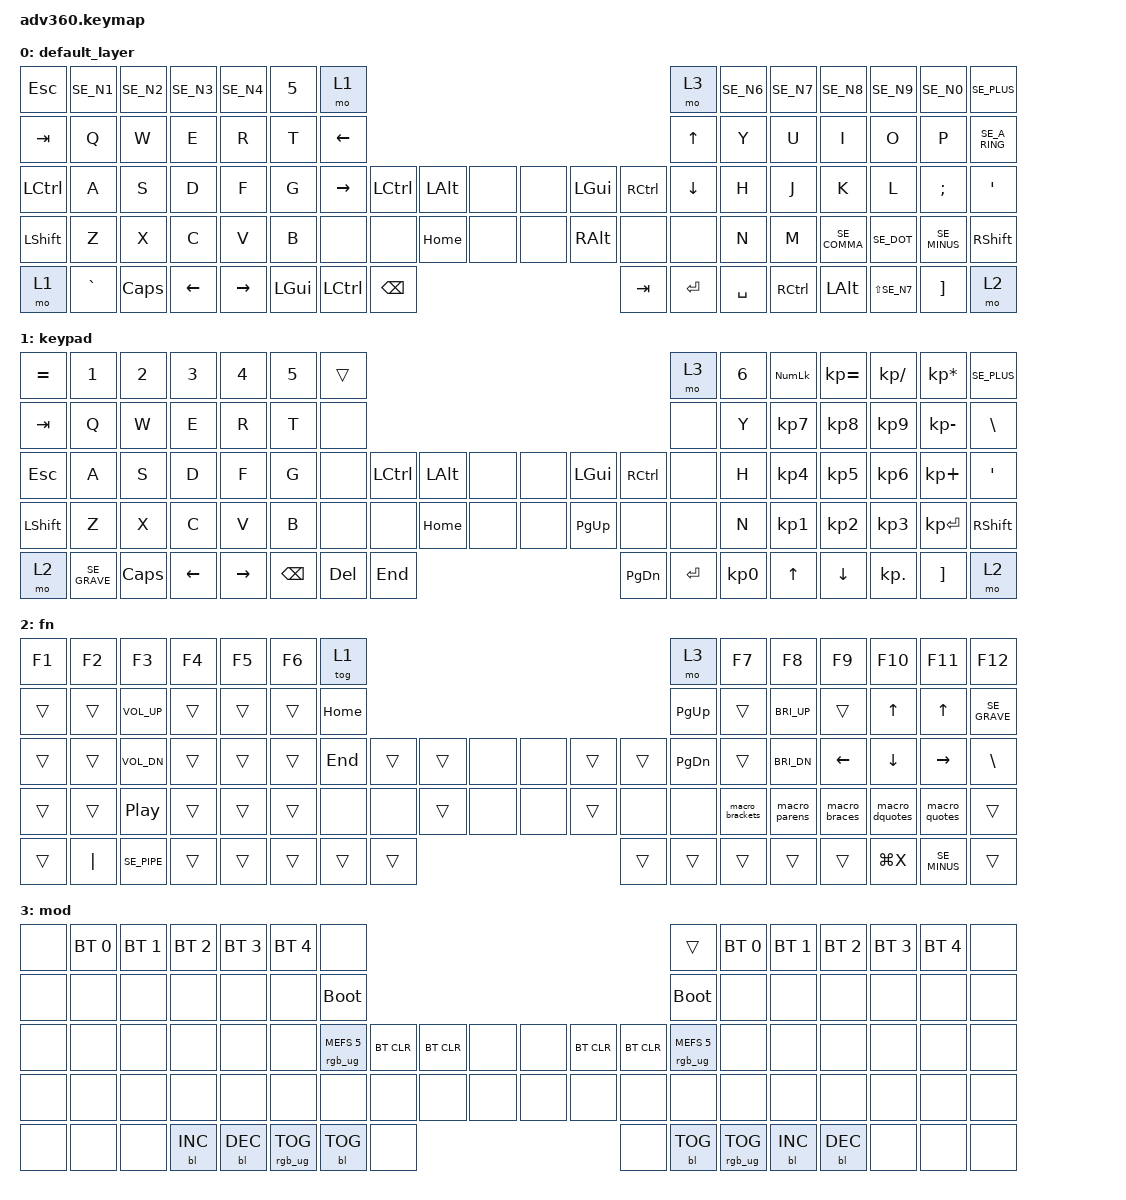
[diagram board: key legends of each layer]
#include <behaviors.dtsi>
#include <dt-bindings/zmk/keys.h>
#include <dt-bindings/zmk/bt.h>
#include <dt-bindings/zmk/rgb.h>
#include <dt-bindings/zmk/backlight.h>
#include "keys_se.h"

/ {
    behaviors {
      #include "macros.dtsi"

      hm: homerow_mods {
          compatible = "zmk,behavior-hold-tap";
          label = "HOMEROW_MODS";
          #binding-cells = <2>;
          tapping-term-ms = <200>;
          quick_tap_ms = <175>;
          flavor = "tap-preferred";
          bindings = <&kp>, <&kp>;
      };
    };

  keymap {
    compatible = "zmk,keymap";

    default_layer {
      bindings = <
        &kp ESC   &kp SE_N1 &kp SE_N2 &kp SE_N3 &kp SE_N4  &kp N5 &mo 1                                                                        &mo 3    &kp SE_N6 &kp SE_N7    &kp SE_N8    &kp SE_N9     &kp SE_N0    &kp SE_PLUS
        &kp TAB   &kp Q     &kp W     &kp E     &kp R      &kp T  &kp LEFT                                                                     &kp UP   &kp Y     &kp U        &kp I        &kp O         &kp P        &kp SE_A_RING
        &kp LCTRL &kp A     &kp S     &kp D     &kp F      &kp G  &kp RIGHT       &kp LCTRL &kp LALT &none &none &kp LGUI &kp RCTRL            &kp DOWN &kp H     &kp J        &kp K        &kp L         &kp SEMI     &kp SQT
        &kp LSHFT &kp Z     &kp X     &kp C     &kp V      &kp B         &none    &none     &kp HOME &none &none &kp RALT &none     &none               &kp N     &kp M        &kp SE_COMMA &kp SE_DOT    &kp SE_MINUS &kp RSHFT
        &mo 1     &kp GRAVE &kp CAPS  &kp LEFT  &kp RIGHT                &kp LGUI &kp LCTRL &kp BSPC             &kp TAB  &kp ENTER &kp SPACE                     &kp RCTRL    &kp LALT     &kp LS(SE_N7) &kp RBKT     &mo 2
      >;
    };
    keypad {
      bindings = <
        &kp EQUAL &kp N1       &kp N2   &kp N3   &kp N4     &kp N5 &trans                                                                       &mo 3 &kp N6 &kp KP_NUM &kp KP_EQUAL &kp KP_DIVIDE &kp KP_MULTIPLY &kp SE_PLUS
        &kp TAB   &kp Q        &kp W    &kp E    &kp R      &kp T  &none                                                                        &none &kp Y  &kp KP_N7  &kp KP_N8    &kp KP_N9     &kp KP_MINUS    &kp BSLH
        &kp ESC   &kp A        &kp S    &kp D    &kp F      &kp G  &none           &kp LCTRL &kp LALT &none &none &kp LGUI  &kp RCTRL           &none &kp H  &kp KP_N4  &kp KP_N5    &kp KP_N6     &kp KP_PLUS     &kp SQT
        &kp LSHFT &kp Z        &kp X    &kp C    &kp V      &kp B         &none    &none     &kp HOME &none &none &kp PG_UP &none     &none           &kp N  &kp KP_N1  &kp KP_N2    &kp KP_N3     &kp KP_ENTER    &kp RSHFT
        &mo 2     &kp SE_GRAVE &kp CAPS &kp LEFT &kp RIGHT                &kp BSPC &kp DEL   &kp END              &kp PG_DN &kp ENTER &kp KP_N0              &kp UP     &kp DOWN     &kp KP_DOT    &kp RBKT        &mo 2
      >;
    };
    fn {
      bindings = <
        &kp F1 &kp F2   &kp F3       &kp F4 &kp F5 &kp F6 &tog 1                                                       &mo 3     &kp F7          &kp F8         &kp F9         &kp F10         &kp F11       &kp F12
        &trans &trans   &kp C_VOL_UP &trans &trans &trans  &kp HOME                                                    &kp PG_UP &trans          &kp C_BRI_UP   &trans         &kp UP          &kp UP        &kp SE_GRAVE
        &trans &trans   &kp C_VOL_DN &trans &trans &trans  &kp END      &trans &trans &none &none &trans &trans        &kp PG_DN &trans          &kp C_BRI_DN   &kp LEFT       &kp DOWN        &kp RIGHT     &kp BSLH
        &trans &trans   &kp C_PP     &trans &trans &trans        &none  &none  &trans &none &none &trans &none  &none            &macro_brackets &macro_parens  &macro_braces  &macro_dquotes  &macro_quotes &trans
        &trans &kp PIPE &kp SE_PIPE  &trans &trans               &trans &trans &trans             &trans &trans &trans                           &trans         &trans         &kp LG(X)       &kp SE_MINUS  &trans
      >;
    };
    mod {
      bindings = <
        &none &bt BT_SEL 0 &bt BT_SEL 1 &bt BT_SEL 2 &bt BT_SEL 3 &bt BT_SEL 4 &none                                                                                                          &trans                 &bt BT_SEL 0 &bt BT_SEL 1 &bt BT_SEL 2 &bt BT_SEL 3 &bt BT_SEL 4 &none
        &none &none        &none        &none        &none        &none        &bootloader                                                                                                    &bootloader            &none        &none        &none        &none        &none        &none
        &none &none        &none        &none        &none        &none        &rgb_ug RGB_MEFS_CMD 5                 &bt BT_CLR &bt BT_CLR &none &none &bt BT_CLR &bt BT_CLR                 &rgb_ug RGB_MEFS_CMD 5 &none        &none        &none        &none        &none        &none
        &none &none        &none        &none        &none        &none                               &none           &none      &none      &none &none &none      &none      &none                                  &none        &none        &none        &none        &none        &none
        &none &none        &none        &bl BL_INC   &bl BL_DEC                                       &rgb_ug RGB_TOG &bl BL_TOG &none                  &none      &bl BL_TOG &rgb_ug RGB_TOG                                     &bl BL_INC   &bl BL_DEC   &none        &none        &none
      >;
    };
  };
};
